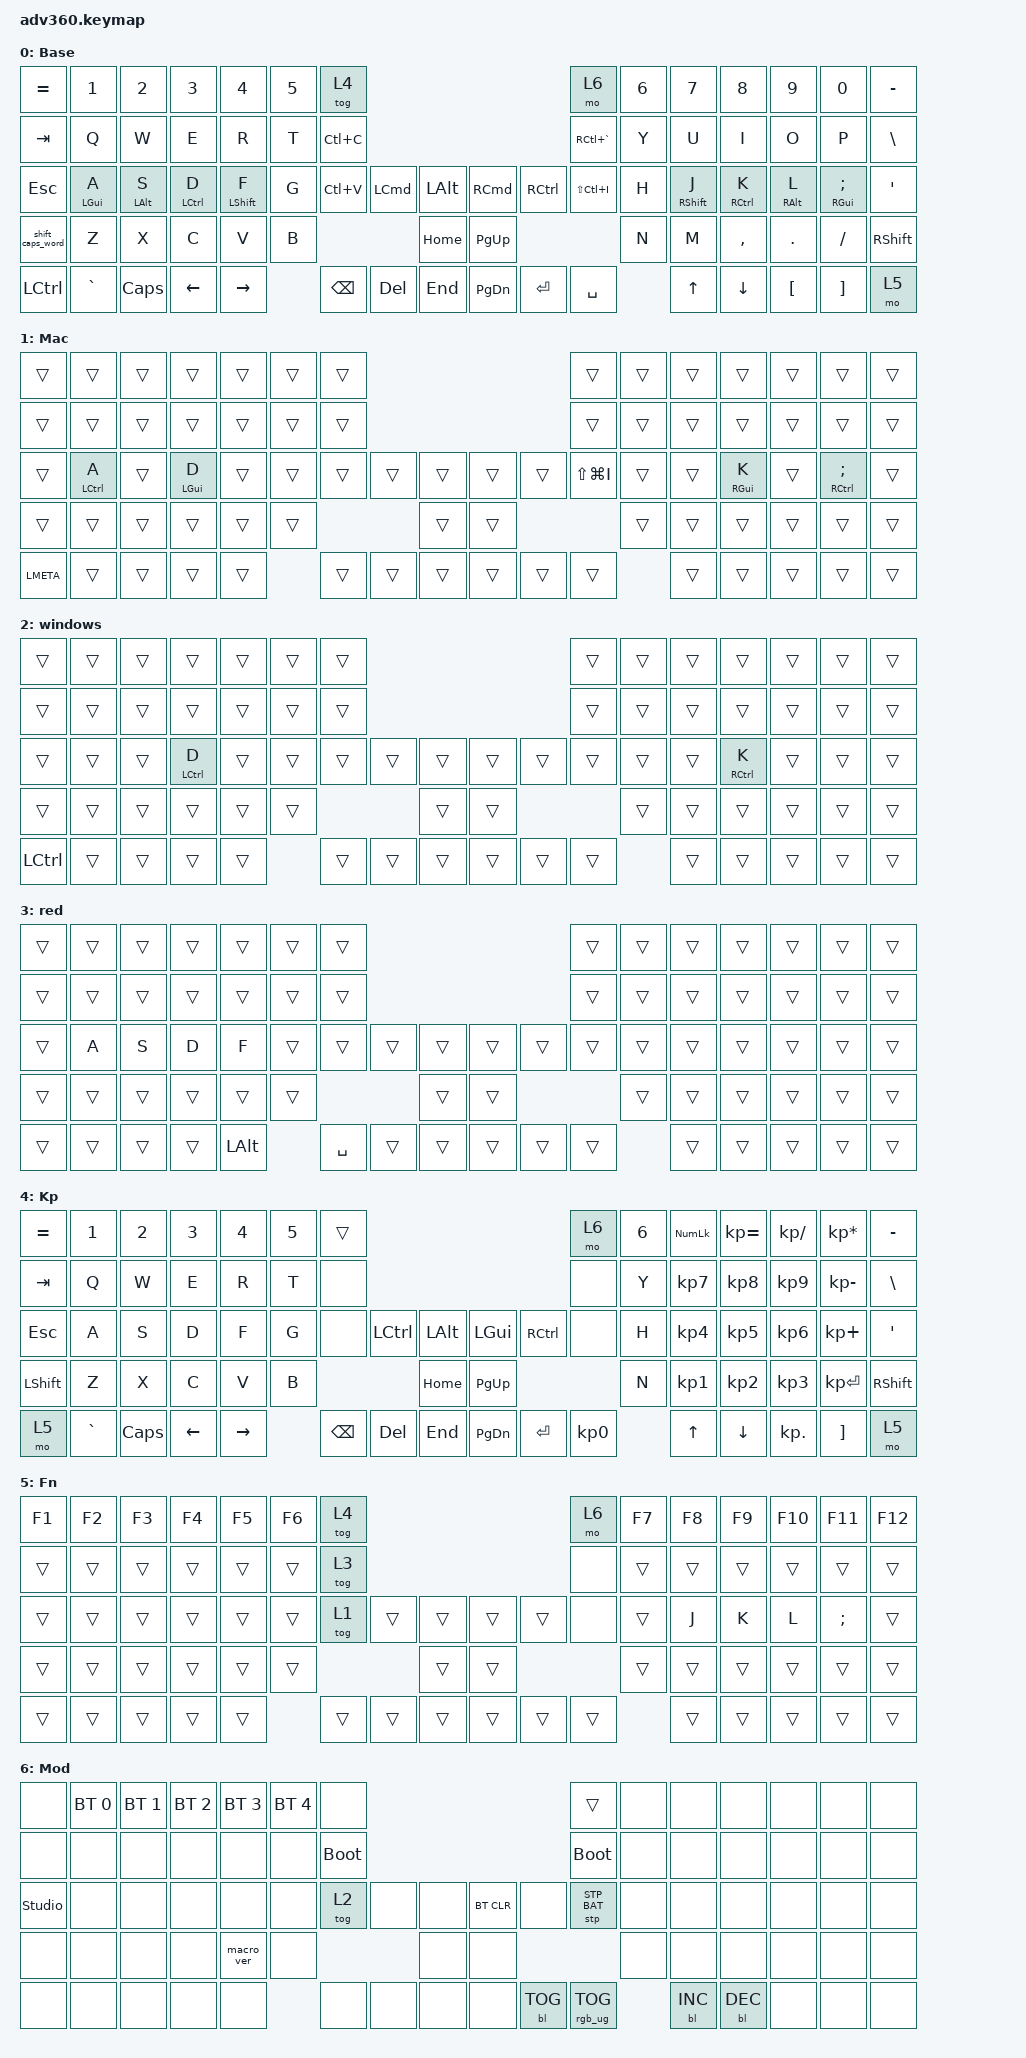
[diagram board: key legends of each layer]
#include <dt-bindings/zmk/stp.h>
#include <behaviors.dtsi>
#include <dt-bindings/zmk/backlight.h>
#include <dt-bindings/zmk/bt.h>
#include <dt-bindings/zmk/keys.h>
#include <dt-bindings/zmk/rgb.h>

&mt {
    tapping-term-ms = <200>;
    flavor = "tap-preferred";
    quick-tap-ms = <200>;
    require-prior-idle-ms = <50>;
};

/ {
    behaviors {
        #include "macros.dtsi"
      #include "version.dtsi"

        hm: homerow_mods {
            compatible = "zmk,behavior-hold-tap";
            label = "HOMEROW_MODS";
            #binding-cells = <2>;
            tapping-term-ms = <200>;
            quick_tap_ms = <175>;
            flavor = "tap-preferred";
            bindings = <&kp>, <&kp>;
        };

        shift_caps_word: shift_caps_word {
            compatible = "zmk,behavior-tap-dance";
            label = "Shift & Caps Word";
            #binding-cells = <0>;
            bindings = <&kp LSHFT>, <&caps_word>;
        };
    };

    keymap {
        compatible = "zmk,keymap";

        Linux {
            display-name = "Base";
            bindings = <
&kp EQUAL         &kp N1      &kp N2      &kp N3       &kp N4       &kp N5  &tog 4                                                   &mo 6          &kp N6  &kp N7       &kp N8       &kp N9      &kp N0                   &kp MINUS
&kp TAB           &kp Q       &kp W       &kp E        &kp R        &kp T   &kp LC(C)                                                &kp RC(GRAVE)  &kp Y   &kp U        &kp I        &kp O       &kp P                    &kp BSLH
&kp ESC           &mt LGUI A  &mt LALT S  &mt LCTRL D  &mt LSHFT F  &kp G   &kp LC(V)  &kp LCMD  &kp LALT      &kp RCMD   &kp RCTRL  &kp LS(LC(I))  &kp H   &mt RSHFT J  &mt RCTRL K  &mt RALT L  &mt RIGHT_GUI SEMICOLON  &kp SQT
&shift_caps_word  &kp Z       &kp X       &kp C        &kp V        &kp B                        &kp HOME      &kp PG_UP                            &kp N   &kp M        &kp COMMA    &kp DOT     &kp FSLH                 &kp RSHFT
&kp LCTRL         &kp GRAVE   &kp CAPS    &kp LEFT     &kp RIGHT            &kp BSPC   &kp DEL   &kp END       &kp PG_DN  &kp ENTER  &kp SPACE              &kp UP       &kp DOWN     &kp LBKT    &kp RBKT                 &mo 5
            >;
        };

        Mac {
            bindings = <
&trans     &trans       &trans  &trans      &trans  &trans  &trans                                      &trans         &trans  &trans  &trans      &trans  &trans          &trans
&trans     &trans       &trans  &trans      &trans  &trans  &trans                                      &trans         &trans  &trans  &trans      &trans  &trans          &trans
&trans     &mt LCTRL A  &trans  &mt LGUI D  &trans  &trans  &trans  &trans  &trans      &trans  &trans  &kp LS(LG(I))  &trans  &trans  &mt RGUI K  &trans  &mt RCTRL SEMI  &trans
&trans     &trans       &trans  &trans      &trans  &trans                  &trans      &trans                         &trans  &trans  &trans      &trans  &trans          &trans
&kp LMETA  &trans       &trans  &trans      &trans          &trans  &trans  &trans      &trans  &trans  &trans                 &trans  &trans      &trans  &trans          &trans
            >;
        };

        windows {
            bindings = <
&trans     &trans  &trans  &trans       &trans  &trans  &trans                                      &trans  &trans  &trans  &trans       &trans  &trans  &trans
&trans     &trans  &trans  &trans       &trans  &trans  &trans                                      &trans  &trans  &trans  &trans       &trans  &trans  &trans
&trans     &trans  &trans  &mt LCTRL D  &trans  &trans  &trans  &trans  &trans      &trans  &trans  &trans  &trans  &trans  &mt RCTRL K  &trans  &trans  &trans
&trans     &trans  &trans  &trans       &trans  &trans                  &trans      &trans                  &trans  &trans  &trans       &trans  &trans  &trans
&kp LCTRL  &trans  &trans  &trans       &trans          &trans  &trans  &trans      &trans  &trans  &trans          &trans  &trans       &trans  &trans  &trans
            >;
        };

        Gaming {
            bindings = <
&trans  &trans  &trans  &trans  &trans    &trans  &trans                                         &trans  &trans  &trans  &trans  &trans  &trans  &trans
&trans  &trans  &trans  &trans  &trans    &trans  &trans                                         &trans  &trans  &trans  &trans  &trans  &trans  &trans
&trans  &kp A   &kp S   &kp D   &kp F     &trans  &trans     &trans  &trans      &trans  &trans  &trans  &trans  &trans  &trans  &trans  &trans  &trans
&trans  &trans  &trans  &trans  &trans    &trans                     &trans      &trans                  &trans  &trans  &trans  &trans  &trans  &trans
&trans  &trans  &trans  &trans  &kp LALT          &kp SPACE  &trans  &trans      &trans  &trans  &trans          &trans  &trans  &trans  &trans  &trans
            >;

            label = "red";
        };

        keypad {
            display-name = "Kp";
            bindings = <
&kp EQUAL  &kp N1     &kp N2    &kp N3    &kp N4     &kp N5  &trans                                                   &mo 6      &kp N6  &kp KP_NUM  &kp KP_EQUAL  &kp KP_DIVIDE  &kp KP_MULTIPLY  &kp MINUS
&kp TAB    &kp Q      &kp W     &kp E     &kp R      &kp T   &none                                                    &none      &kp Y   &kp KP_N7   &kp KP_N8     &kp KP_N9      &kp KP_MINUS     &kp BSLH
&kp ESC    &kp A      &kp S     &kp D     &kp F      &kp G   &none     &kp LCTRL  &kp LALT      &kp LGUI   &kp RCTRL  &none      &kp H   &kp KP_N4   &kp KP_N5     &kp KP_N6      &kp KP_PLUS      &kp SQT
&kp LSHFT  &kp Z      &kp X     &kp C     &kp V      &kp B                        &kp HOME      &kp PG_UP                        &kp N   &kp KP_N1   &kp KP_N2     &kp KP_N3      &kp KP_ENTER     &kp RSHFT
&mo 5      &kp GRAVE  &kp CAPS  &kp LEFT  &kp RIGHT          &kp BSPC  &kp DEL    &kp END       &kp PG_DN  &kp ENTER  &kp KP_N0          &kp UP      &kp DOWN      &kp KP_DOT     &kp RBKT         &mo 5
            >;
        };

        fn {
            display-name = "Fn";
            bindings = <
&kp F1  &kp F2  &kp F3  &kp F4  &kp F5  &kp F6  &tog 4                                      &mo 6   &kp F7  &kp F8  &kp F9  &kp F10  &kp F11        &kp F12
&trans  &trans  &trans  &trans  &trans  &trans  &tog 3                                      &none   &trans  &trans  &trans  &trans   &trans         &trans
&trans  &trans  &trans  &trans  &trans  &trans  &tog 1  &trans  &trans      &trans  &trans  &none   &trans  &kp J   &kp K   &kp L    &kp SEMICOLON  &trans
&trans  &trans  &trans  &trans  &trans  &trans                  &trans      &trans                  &trans  &trans  &trans  &trans   &trans         &trans
&trans  &trans  &trans  &trans  &trans          &trans  &trans  &trans      &trans  &trans  &trans          &trans  &trans  &trans   &trans         &trans
            >;
        };

        mod {
            display-name = "Mod";
            bindings = <
&none           &bt BT_SEL 0  &bt BT_SEL 1  &bt BT_SEL 2  &bt BT_SEL 3  &bt BT_SEL 4  &none                                                  &trans           &none  &none       &none       &none  &none  &none
&none           &none         &none         &none         &none         &none         &bootloader                                            &bootloader      &none  &none       &none       &none  &none  &none
&studio_unlock  &none         &none         &none         &none         &none         &tog 2       &none  &none      &bt BT_CLR  &none       &stp STP_BAT     &none  &none       &none       &none  &none  &none
&none           &none         &none         &none         &macro_ver    &none                             &none      &none                                    &none  &none       &none       &none  &none  &none
&none           &none         &none         &none         &none                       &none        &none  &none      &none       &bl BL_TOG  &rgb_ug RGB_TOG         &bl BL_INC  &bl BL_DEC  &none  &none  &none
            >;
        };
    };
};
